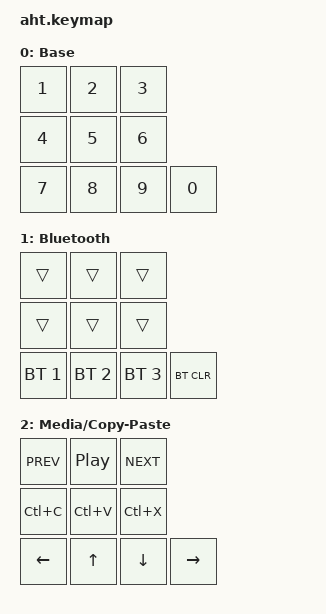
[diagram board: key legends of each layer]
#include <dt-bindings/zmk/keys.h>
#include <dt-bindings/zmk/bt.h>
#include <behaviors.dtsi>

/ {
	keymap {
		compatible = "zmk,keymap";

		// --- Layer 0: Base (digits) ---
		layer0 {
			display-name = "Base";
			bindings = <
				&kp N1  &kp N2  &kp N3
				&kp N4  &kp N5  &kp N6
				&kp N7  &kp N8  &kp N9  &kp N0
			>;
		};

		// --- Layer 1: Bluetooth control ---
		layer1 {
			display-name = "Bluetooth";
			bindings = <
				&trans &trans &trans
				&trans &trans &trans
				&bt BT_SEL 1 &bt BT_SEL 2 &bt BT_SEL 3 &bt BT_CLR
			>;
		};

		// --- Layer 2: Media + editing ---
		layer2 {
			display-name = "Media/Copy-Paste";
			bindings = <
				&kp C_PREV  &kp C_PLAY_PAUSE &kp C_NEXT
				&kp LC(C)   &kp LC(V)        &kp LC(X)
				&kp LEFT    &kp UP           &kp DOWN    &kp RIGHT
			>;
		};
	};

    combos {
		compatible = "zmk,combos";

		combo_to_base {
			timeout-ms = <100>;
			key-positions = <0 1 2>;
			bindings = <&to 0>;
		};

		combo_to_studio {
			timeout-ms = <100>;
			key-positions = <3 4 5>;
			bindings = <&to 1>;
		};

		combo_to_media {
			timeout-ms = <100>;
			key-positions = <6 7 8>;
			bindings = <&to 2>;
		};

		combo_studio_unlock {
			timeout-ms = <150>;
			key-positions = <0 1>;
			bindings = <&studio_unlock>;
		};
	};
};
